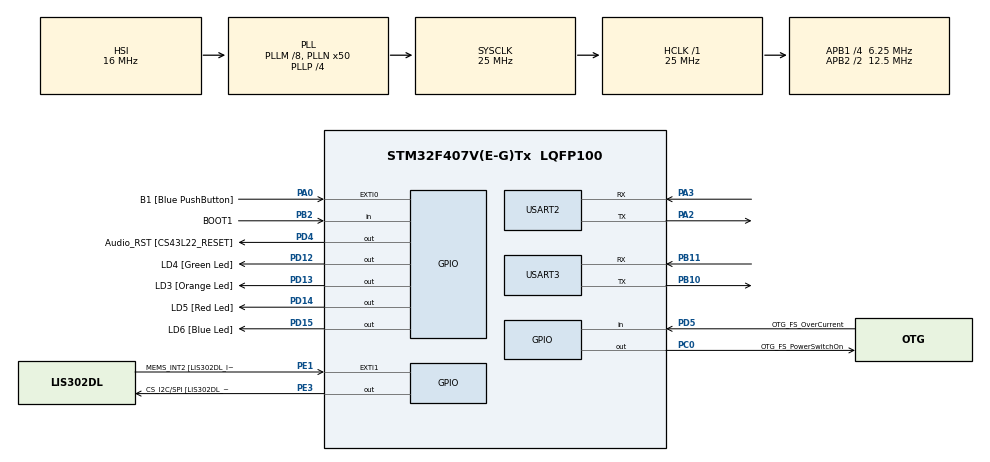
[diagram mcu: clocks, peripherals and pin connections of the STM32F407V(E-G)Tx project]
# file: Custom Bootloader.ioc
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Mcu.Family=STM32F4
Mcu.Name=STM32F407V(E-G)Tx
Mcu.Package=LQFP100
NVIC.PriorityGroup=NVIC_PRIORITYGROUP_0
NVIC.USART3_IRQn=true\:0\:0\:false\:false\:true\:true\:true\:true
PA0-WKUP.GPIO_Label=B1 [Blue PushButton]
PA0-WKUP.Signal=GPXTI0
PA10.GPIO_Label=OTG_FS_ID
PA10.GPIO_Mode=GPIO_MODE_AF_PP
PA10.GPIO_PuPd=GPIO_NOPULL
PA10.GPIO_Speed=GPIO_SPEED_FREQ_LOW
PA10.Signal=USB_OTG_FS_ID
PA11.GPIO_Label=OTG_FS_DM
PA11.GPIO_Mode=GPIO_MODE_AF_PP
PA11.GPIO_PuPd=GPIO_NOPULL
PA11.GPIO_Speed=GPIO_SPEED_FREQ_LOW
PA11.Signal=USB_OTG_FS_DM
PA12.GPIO_Label=OTG_FS_DP
PA12.GPIO_Mode=GPIO_MODE_AF_PP
PA12.GPIO_PuPd=GPIO_NOPULL
PA12.GPIO_Speed=GPIO_SPEED_FREQ_LOW
PA12.Signal=USB_OTG_FS_DP
PA13.GPIO_Label=SWDIO
PA13.Signal=SYS_JTMS-SWDIO
PA14.GPIO_Label=SWCLK
PA14.Signal=SYS_JTCK-SWCLK
PA2.Mode=Asynchronous
PA2.Signal=USART2_TX
PA3.Mode=Asynchronous
PA3.Signal=USART2_RX
PA4.GPIO_Label=I2S3_WS [CS43L22_LRCK]
PA4.GPIO_Mode=GPIO_MODE_AF_PP
PA4.GPIO_PuPd=GPIO_NOPULL
PA4.GPIO_Speed=GPIO_SPEED_FREQ_LOW
PA4.Signal=I2S3_WS
PA5.GPIO_Label=SPI1_SCK [LIS302DL_SCL/SPC]
PA5.GPIO_Mode=GPIO_MODE_AF_PP
PA5.GPIO_PuPd=GPIO_NOPULL
PA5.GPIO_Speed=GPIO_SPEED_FREQ_LOW
PA5.Signal=SPI1_SCK
PA6.GPIO_Label=SPI1_MISO [LIS302DL_SDO]
PA6.GPIO_Mode=GPIO_MODE_AF_PP
PA6.GPIO_PuPd=GPIO_NOPULL
PA6.GPIO_Speed=GPIO_SPEED_FREQ_LOW
PA6.Signal=SPI1_MISO
PA7.GPIO_Label=SPI1_MOSI [LIS302DL_SDA/SDI/SDO]
PA7.GPIO_Mode=GPIO_MODE_AF_PP
PA7.GPIO_PuPd=GPIO_NOPULL
PA7.GPIO_Speed=GPIO_SPEED_FREQ_LOW
PA7.Signal=SPI1_MOSI
PA9.GPIO_Label=VBUS_FS
PA9.GPIO_Mode=GPIO_MODE_INPUT
PA9.GPIO_PuPd=GPIO_NOPULL
PA9.Signal=USB_OTG_FS_VBUS
PB10.Mode=Asynchronous
PB10.Signal=USART3_TX
PB11.Mode=Asynchronous
PB11.Signal=USART3_RX
PB2.GPIO_Label=BOOT1
PB2.GPIO_Mode=GPIO_MODE_INPUT
PB2.GPIO_PuPd=GPIO_NOPULL
PB2.Signal=GPIO_Input
PB3.GPIO_Label=SWO
PB3.Signal=SYS_JTDO-SWO
PB6.GPIO_Label=Audio_SCL [CS43L22_SCL]
PB6.GPIO_Mode=GPIO_MODE_AF_OD
PB6.GPIO_PuPd=GPIO_NOPULL
PB6.GPIO_Speed=GPIO_SPEED_FREQ_LOW
PB6.Signal=I2C1_SCL
PB9.GPIO_Label=Audio_SDA [CS43L22_SDA]
PB9.GPIO_Mode=GPIO_MODE_AF_OD
PB9.GPIO_PuPd=GPIO_NOPULL
PB9.GPIO_Speed=GPIO_SPEED_FREQ_LOW
PB9.Signal=I2C1_SDA
PC0.GPIO_Label=OTG_FS_PowerSwitchOn
PC0.GPIO_PuPd=GPIO_NOPULL
PC0.GPIO_Speed=GPIO_SPEED_FREQ_LOW
PC0.PinState=GPIO_PIN_SET
PC0.Signal=GPIO_Output
PC10.GPIO_Label=I2S3_SCK [CS43L22_SCLK]
PC10.GPIO_Mode=GPIO_MODE_AF_PP
PC10.GPIO_PuPd=GPIO_NOPULL
PC10.GPIO_Speed=GPIO_SPEED_FREQ_LOW
PC10.Signal=I2S3_CK
PC12.GPIO_Label=I2S3_SD [CS43L22_SDIN]
PC12.GPIO_Mode=GPIO_MODE_AF_PP
PC12.GPIO_PuPd=GPIO_NOPULL
PC12.GPIO_Speed=GPIO_SPEED_FREQ_LOW
PC12.Signal=I2S3_SD
PC14-OSC32_IN.GPIO_Label=PC14-OSC32_IN
PC14-OSC32_IN.Signal=RCC_OSC32_IN
PC15-OSC32_OUT.GPIO_Label=PC15-OSC32_OUT
PC15-OSC32_OUT.Signal=RCC_OSC32_OUT
PC3.GPIO_Label=PDM_OUT [MP45DT02_DOUT]
PC3.GPIO_Mode=GPIO_MODE_AF_PP
PC3.GPIO_PuPd=GPIO_NOPULL
PC3.GPIO_Speed=GPIO_SPEED_FREQ_LOW
PC3.Signal=I2S2_SD
PC7.GPIO_Label=I2S3_MCK [CS43L22_MCLK]
PC7.GPIO_Mode=GPIO_MODE_AF_PP
PC7.GPIO_PuPd=GPIO_NOPULL
PC7.GPIO_Speed=GPIO_SPEED_FREQ_LOW
PC7.Signal=I2S3_MCK
PD12.GPIO_Label=LD4 [Green Led]
PD12.GPIO_PuPd=GPIO_NOPULL
PD12.GPIO_Speed=GPIO_SPEED_FREQ_LOW
PD12.Signal=GPIO_Output
PD13.GPIO_Label=LD3 [Orange Led]
PD13.GPIO_PuPd=GPIO_NOPULL
PD13.GPIO_Speed=GPIO_SPEED_FREQ_LOW
PD13.Signal=GPIO_Output
PD14.GPIO_Label=LD5 [Red Led]
PD14.GPIO_PuPd=GPIO_NOPULL
PD14.GPIO_Speed=GPIO_SPEED_FREQ_LOW
PD14.Signal=GPIO_Output
PD15.GPIO_Label=LD6 [Blue Led]
PD15.GPIO_PuPd=GPIO_NOPULL
PD15.GPIO_Speed=GPIO_SPEED_FREQ_LOW
PD15.Signal=GPIO_Output
PD4.GPIO_Label=Audio_RST [CS43L22_RESET]
PD4.GPIO_PuPd=GPIO_NOPULL
PD4.GPIO_Speed=GPIO_SPEED_FREQ_LOW
PD4.Signal=GPIO_Output
PD5.GPIO_Label=OTG_FS_OverCurrent
PD5.GPIO_Mode=GPIO_MODE_INPUT
PD5.GPIO_PuPd=GPIO_NOPULL
PD5.Signal=GPIO_Input
PE1.GPIO_Label=MEMS_INT2 [LIS302DL_INT2]
PE1.GPIO_ModeDefaultEXTI=GPIO_MODE_EVT_RISING
PE1.GPIO_PuPd=GPIO_NOPULL
PE1.Signal=GPXTI1
PE3.GPIO_Label=CS_I2C/SPI [LIS302DL_CS_I2C/SPI]
PE3.GPIO_PuPd=GPIO_NOPULL
PE3.GPIO_Speed=GPIO_SPEED_FREQ_LOW
PE3.Signal=GPIO_Output
PH0-OSC_IN.GPIO_Label=PH0-OSC_IN
PH0-OSC_IN.Signal=RCC_OSC_IN
PH1-OSC_OUT.GPIO_Label=PH1-OSC_OUT
PH1-OSC_OUT.Signal=RCC_OSC_OUT
ProjectManager.HeapSize=0x200
ProjectManager.StackSize=0x400
ProjectManager.TargetToolchain=STM32CubeIDE
RCC.48MHZClocksFreq_Value=14285714.285714285
RCC.AHBFreq_Value=25000000
RCC.APB1CLKDivider=RCC_HCLK_DIV4
RCC.APB1Freq_Value=6250000
RCC.APB1TimFreq_Value=12500000
RCC.APB2CLKDivider=RCC_HCLK_DIV2
RCC.APB2Freq_Value=12500000
RCC.APB2TimFreq_Value=25000000
RCC.CortexFreq_Value=25000000
RCC.HCLKFreq_Value=25000000
RCC.HSE_VALUE=8000000
RCC.HSI_VALUE=16000000
RCC.LSE_VALUE=32768
RCC.PLLM=8
RCC.PLLN=50
RCC.PLLP=RCC_PLLP_DIV4
RCC.PLLQ=7
RCC.SYSCLKFreq_VALUE=25000000
RCC.SYSCLKSource=RCC_SYSCLKSOURCE_PLLCLK
RCC.VCOOutputFreq_Value=100000000
USART2.VirtualMode=VM_ASYNC
USART3.VirtualMode=VM_ASYNC
VP_CRC_VS_CRC.Mode=CRC_Activate
board=STM32F407G-DISC1

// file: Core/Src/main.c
/* USER CODE BEGIN Header */
/**
  ******************************************************************************
  * @file           : main.c
  * @brief          : Main program body
  ******************************************************************************
  * @attention
  *
  * Copyright (c) 2026 STMicroelectronics.
  * All rights reserved.
  *
  * This software is licensed under terms that can be found in the LICENSE file
  * in the root directory of this software component.
  * If no LICENSE file comes with this software, it is provided AS-IS.
  *
  ******************************************************************************
  */
#include <stdio.h>
#include <string.h>
#include <stdarg.h>
/* USER CODE END Header */
#include "main.h"

/* USER CODE BEGIN Includes */
#define PRINTF
#define OB_HAL 1
#define SECTOR2_FLASH_STORAGE 0x08008000UL

/* USER CODE END Includes */

CRC_HandleTypeDef hcrc;

UART_HandleTypeDef huart2;
UART_HandleTypeDef huart3;

/* USER CODE BEGIN PV */
#define D_UART &huart3
#define C_UART &huart2

/* USER CODE END PV */

void SystemClock_Config(void);
static void MX_GPIO_Init(void);
static void MX_CRC_Init(void);
static void MX_USART3_UART_Init(void);
static void MX_USART2_UART_Init(void);
/* USER CODE BEGIN PFP */
static void printmsg(char *formate,...);
static void bootloader_uart_read_data();
static void bootloader_uart_write_data(uint8_t* pSTACK, uint8_t len);
static void bootloader_jump_to_user_app();

void bl_get_version(uint8_t* pSTACK);
void bl_get_help(uint8_t* pSTACK);
void bl_get_CID(uint8_t* pSTACK);
void bl_get_read_protection_level(uint8_t* pSTACK);
void bl_go_to_address(uint8_t* pSTACK);
void bl_erase_flash(uint8_t* pSTACK);
void bl_memory_write(uint8_t* pSTACK);
void bl_memory_read(uint8_t* pSTACK);
void bl_en_read_write_protection(uint8_t* pSTACK);
void bl_get_read_sector_protection_status(uint8_t* pSTACK);
void read_otp_content(uint8_t* pSTACK);
void bl_diable_read_write_protection(uint8_t* pSTACK);

static void bootloader_send_ack(uint8_t cmd_code, uint8_t follow_len);
static void bootloader_send_nack(void);
static uint8_t bootloader_verify_crc(uint8_t* pSTACK, uint8_t len, uint32_t host_crc);
static uint8_t get_booloader_ver();
static uint16_t get_mcu_cid();
static uint8_t get_rdp_level();
static uint8_t validate_addr(uint32_t addr);

static uint8_t execute_erase_task(uint8_t sector_number, uint8_t number_of_sector);
static uint8_t execute_write_task(uint32_t base_mem_addr, uint8_t *pBuffer, uint32_t payload_len);

static uint8_t sector_status(uint8_t sector_view, uint8_t protection_mode, uint8_t disable);

/* USER CODE END PFP */

/* USER CODE BEGIN 0 */
uint8_t BL_FULL_STACK[250];

uint8_t HELP_CODE[] = {
		BL_GET_VER,
		BL_GET_HELP,
		BL_GET_CID,
		BL_GET_RPD_STATUS,
		BL_GO_TO_ADDR,
		BL_FLASH_ERASE,
		BL_MEM_WRITE,
		BL_MEM_READ,
		BL_EN_R_W_PROTECT,
		BL_READ_SECTOR_STATUS,
		BL_OTP_READ,
		BL_DIS_R_RW_PROTECT

};
/* USER CODE END 0 */

int main(void)
{

  /* MCU Configuration--------------------------------------------------------*/

  /* Reset of all peripherals, Initializes the Flash interface and the Systick. */
  HAL_Init();

  /* Configure the system clock */
  SystemClock_Config();

  /* Initialize all configured peripherals */
  MX_GPIO_Init();
  MX_CRC_Init();
  MX_USART3_UART_Init();
  MX_USART2_UART_Init();
  /* USER CODE BEGIN 2 */
if(HAL_GPIO_ReadPin(B1_GPIO_Port, B1_Pin) == GPIO_PIN_SET){

	printmsg("Entered UART read configuration\r\n");

	bootloader_uart_read_data();

}
else{

	printmsg("Entered to user application\r\n");

	bootloader_jump_to_user_app();

}
  /* USER CODE END 2 */

  /* Infinite loop */
  while (1)
  {

  }
}

void SystemClock_Config(void)
{
  RCC_OscInitTypeDef RCC_OscInitStruct = {0};
  RCC_ClkInitTypeDef RCC_ClkInitStruct = {0};

  /** Configure the main internal regulator output voltage
  */
  __HAL_RCC_PWR_CLK_ENABLE();
  __HAL_PWR_VOLTAGESCALING_CONFIG(PWR_REGULATOR_VOLTAGE_SCALE1);

  /** Initializes the RCC Oscillators according to the specified parameters
  * in the RCC_OscInitTypeDef structure.
  */
  RCC_OscInitStruct.OscillatorType = RCC_OSCILLATORTYPE_HSI;
  RCC_OscInitStruct.HSIState = RCC_HSI_ON;
  RCC_OscInitStruct.HSICalibrationValue = RCC_HSICALIBRATION_DEFAULT;
  RCC_OscInitStruct.PLL.PLLState = RCC_PLL_ON;
  RCC_OscInitStruct.PLL.PLLSource = RCC_PLLSOURCE_HSI;
  RCC_OscInitStruct.PLL.PLLM = 8;
  RCC_OscInitStruct.PLL.PLLN = 50;
  RCC_OscInitStruct.PLL.PLLP = RCC_PLLP_DIV4;
  RCC_OscInitStruct.PLL.PLLQ = 7;
  if (HAL_RCC_OscConfig(&RCC_OscInitStruct) != HAL_OK)
  {
    Error_Handler();
  }

  /** Initializes the CPU, AHB and APB buses clocks
  */
  RCC_ClkInitStruct.ClockType = RCC_CLOCKTYPE_HCLK|RCC_CLOCKTYPE_SYSCLK
                              |RCC_CLOCKTYPE_PCLK1|RCC_CLOCKTYPE_PCLK2;
  RCC_ClkInitStruct.SYSCLKSource = RCC_SYSCLKSOURCE_PLLCLK;
  RCC_ClkInitStruct.AHBCLKDivider = RCC_SYSCLK_DIV1;
  RCC_ClkInitStruct.APB1CLKDivider = RCC_HCLK_DIV4;
  RCC_ClkInitStruct.APB2CLKDivider = RCC_HCLK_DIV2;

  if (HAL_RCC_ClockConfig(&RCC_ClkInitStruct, FLASH_LATENCY_0) != HAL_OK)
  {
    Error_Handler();
  }
}

static void MX_CRC_Init(void)
{

  hcrc.Instance = CRC;
  if (HAL_CRC_Init(&hcrc) != HAL_OK)
  {
    Error_Handler();
  }

}

static void MX_USART2_UART_Init(void)
{

  huart2.Instance = USART2;
  huart2.Init.BaudRate = 115200;
  huart2.Init.WordLength = UART_WORDLENGTH_8B;
  huart2.Init.StopBits = UART_STOPBITS_1;
  huart2.Init.Parity = UART_PARITY_NONE;
  huart2.Init.Mode = UART_MODE_TX_RX;
  huart2.Init.HwFlowCtl = UART_HWCONTROL_NONE;
  huart2.Init.OverSampling = UART_OVERSAMPLING_16;
  if (HAL_UART_Init(&huart2) != HAL_OK)
  {
    Error_Handler();
  }

}

static void MX_USART3_UART_Init(void)
{

  huart3.Instance = USART3;
  huart3.Init.BaudRate = 115200;
  huart3.Init.WordLength = UART_WORDLENGTH_8B;
  huart3.Init.StopBits = UART_STOPBITS_1;
  huart3.Init.Parity = UART_PARITY_NONE;
  huart3.Init.Mode = UART_MODE_TX_RX;
  huart3.Init.HwFlowCtl = UART_HWCONTROL_NONE;
  huart3.Init.OverSampling = UART_OVERSAMPLING_16;
  if (HAL_UART_Init(&huart3) != HAL_OK)
  {
    Error_Handler();
  }

}

static void MX_GPIO_Init(void)
{
  GPIO_InitTypeDef GPIO_InitStruct = {0};

  /* GPIO Ports Clock Enable */

  __HAL_RCC_GPIOA_CLK_ENABLE();
  __HAL_RCC_GPIOB_CLK_ENABLE();
  __HAL_RCC_GPIOD_CLK_ENABLE();

  /*Configure GPIO pin : B1_Pin */
  GPIO_InitStruct.Pin = B1_Pin;
  GPIO_InitStruct.Mode = GPIO_MODE_IT_RISING;
  GPIO_InitStruct.Pull = GPIO_NOPULL;
  HAL_GPIO_Init(B1_GPIO_Port, &GPIO_InitStruct);

  /*Configure GPIO pins : LD4_Pin LD3_Pin LD5_Pin LD6_Pin
                           Audio_RST_Pin */
  GPIO_InitStruct.Pin = LD4_Pin|LD3_Pin|LD5_Pin|LD6_Pin;
  GPIO_InitStruct.Mode = GPIO_MODE_OUTPUT_PP;
  GPIO_InitStruct.Pull = GPIO_NOPULL;
  GPIO_InitStruct.Speed = GPIO_SPEED_FREQ_LOW;
  HAL_GPIO_Init(GPIOD, &GPIO_InitStruct);
  /* USER CODE BEGIN MX_GPIO_Init_2 */
  GPIO_InitStruct.Pin = B1_Pin;
  GPIO_InitStruct.Mode = GPIO_MODE_INPUT;
  GPIO_InitStruct.Pull = GPIO_PULLDOWN;
  HAL_GPIO_Init(B1_GPIO_Port, &GPIO_InitStruct);
  /* USER CODE END MX_GPIO_Init_2 */
}

/* USER CODE BEGIN 4 */

static void printmsg(char *formate,...){

#ifdef PRINTF

char str[80];

va_list args;
va_start(args, formate);
vsprintf(str, formate, args);
HAL_UART_Transmit(D_UART, (uint8_t*)str, strlen(str), HAL_MAX_DELAY);
va_end(args);

#endif

}

static void bootloader_uart_read_data(){

uint8_t BL_STACK_LEN = 0;
while(1){

HAL_UART_Receive(C_UART, &BL_FULL_STACK[0], 1, HAL_MAX_DELAY);
BL_STACK_LEN = BL_FULL_STACK[0];

if (BL_STACK_LEN == 0 || BL_STACK_LEN > 249) {
	printmsg("BL ERROR: Invalid packet length %d\r\n", BL_STACK_LEN);
	continue;
}

HAL_UART_Receive(C_UART, &BL_FULL_STACK[1], BL_STACK_LEN, HAL_MAX_DELAY);

switch (BL_FULL_STACK[1]) {
	case BL_GET_VER:

		bl_get_version(BL_FULL_STACK);

		break;
	case BL_GET_HELP:

		bl_get_help(BL_FULL_STACK);

			break;
	case BL_GET_CID:

		bl_get_CID(BL_FULL_STACK);

			break;
	case BL_GET_RPD_STATUS:

		bl_get_read_protection_level(BL_FULL_STACK);

			break;
	case BL_GO_TO_ADDR:

		bl_go_to_address(BL_FULL_STACK);

			break;
	case BL_FLASH_ERASE:

		bl_erase_flash(BL_FULL_STACK);

				break;
	case BL_MEM_WRITE:

		bl_memory_write(BL_FULL_STACK);

				break;
	case BL_MEM_READ:

		bl_memory_read(BL_FULL_STACK);

		break;
	case BL_EN_R_W_PROTECT:

		bl_en_read_write_protection(BL_FULL_STACK);

				break;
	case BL_READ_SECTOR_STATUS:

		bl_get_read_sector_protection_status(BL_FULL_STACK);

				break;
	case BL_OTP_READ:

		read_otp_content(BL_FULL_STACK);

				break;
	case BL_DIS_R_RW_PROTECT:

		bl_diable_read_write_protection(BL_FULL_STACK);

				break;
	default:

		printmsg("INVALID COMMAND CODE\r\n");

		break;
		}

	}

}

static void bootloader_jump_to_user_app(){

	void (*app_reset_handler)(void);

	uint32_t msp_value = *((volatile uint32_t*)(SECTOR2_FLASH_STORAGE));

	printmsg("BL DEBUG MSG:MSP ADDR: %#x\r\n", msp_value);

	uint32_t reset_handler_addr = *((volatile uint32_t*)(SECTOR2_FLASH_STORAGE + 4));

	app_reset_handler = (void*) reset_handler_addr;

	printmsg("BL DEBUG MSG:RST HANDLER ADDR: %#x\r\n", app_reset_handler);

	/* Validate application vector table before jumping */
	if (msp_value == 0xFFFFFFFF || msp_value == 0x00000000) {
		printmsg("BL ERROR: Invalid MSP - no app found at 0x%08lx\r\n", (unsigned long)SECTOR2_FLASH_STORAGE);
		return;
	}

	if (reset_handler_addr == 0xFFFFFFFF || reset_handler_addr == 0x00000000) {
		printmsg("BL ERROR: Invalid reset handler - no app found\r\n");
		return;
	}

	if ((reset_handler_addr & 0xFF000000) != 0x08000000) {
		printmsg("BL ERROR: Reset handler 0x%08lx not in flash range\r\n", (unsigned long)reset_handler_addr);
		return;
	}

	printmsg("BL DEBUG MSG: Jumping to application...\r\n");

	/* Ensure last UART TX completes before deinit */
	HAL_Delay(10);

	/* Disable all interrupts - critical for safe transition */
	__disable_irq();

	/* Stop SysTick - it keeps firing if left running, but app uses TIM6 */
	SysTick->CTRL = 0;
	SysTick->LOAD = 0;
	SysTick->VAL = 0;

	/* Clear all pending interrupts in NVIC */
	for (int i = 0; i < 8; i++) {
		NVIC->ICER[i] = 0xFFFFFFFF;
		NVIC->ICPR[i] = 0xFFFFFFFF;
	}

	/* Deinitialize all HAL peripherals */
	HAL_DeInit();

	/* Reset Clock Configuration to default HSI state manually since HAL_RCC_DeInit is a no-op on STM32F4 */
	RCC->CR |= RCC_CR_HSION;
	while ((RCC->CR & RCC_CR_HSIRDY) == 0);

	RCC->CFGR = 0x00000000;
	while ((RCC->CFGR & RCC_CFGR_SWS) != 0);

	RCC->CR &= ~(RCC_CR_HSEON | RCC_CR_HSEBYP | RCC_CR_CSSON | RCC_CR_PLLON | RCC_CR_PLLI2SON);
	while ((RCC->CR & RCC_CR_PLLRDY) != 0);
	while ((RCC->CR & RCC_CR_PLLI2SRDY) != 0);

	RCC->PLLCFGR = 0x24003010;
	RCC->CIR = 0x00000000;

	/* Reset Flash Latency to 0 wait states (safe at 16MHz) */
	FLASH->ACR &= ~FLASH_ACR_LATENCY;

	/* Set VTOR to application's vector table so any interrupt uses app handlers */
	SCB->VTOR = SECTOR2_FLASH_STORAGE;
	__DSB();  /* Ensure VTOR write completes before any interrupt can fire */
	__ISB();  /* Flush pipeline so new vector table is used immediately */

	/* Update SystemCoreClock to match actual clock (HSI 16MHz after RCC_DeInit) */
	SystemCoreClockUpdate();

	/* Disable EXTI line 0 and clear pending (button B1 configured as IT_RISING) */
	EXTI->IMR &= ~EXTI_IMR_MR0;
	EXTI->PR = EXTI_PR_PR0;

	/* Re-enable global interrupts - all sources are stopped, NVIC is clean */
	__enable_irq();

	/* Set stack pointer to application's initial SP value */
	__set_MSP(msp_value);

	/* Jump to application reset handler - never returns */
	app_reset_handler();

}

void bl_get_version(uint8_t* pSTACK){
	uint8_t bl_version = 0;
	printmsg("BL DEBUG MSG : Getting Boot-Loader version...\r\n");

	uint8_t cmd_packet_len = pSTACK[0] + 1;  // 6
	uint32_t host_crc = *((uint32_t*)(pSTACK + cmd_packet_len - 4)); // 6-4 = 2

	if(bootloader_verify_crc(&pSTACK[0], cmd_packet_len-4, host_crc)){

		 bl_version = get_booloader_ver();
		 bootloader_send_ack(pSTACK[1], 1);
		 printmsg("BL DEBUG: Boot-Loader Version - %d %#x\r\n",bl_version,bl_version);
		 bootloader_uart_write_data(&bl_version, 1);

	}
	else{

		 printmsg("BL DEBUG MSG : Boot-Loader CHECKSUM Failed !\r\n");
		 bootloader_send_nack();

	}

}

void bl_get_help(uint8_t* pSTACK){

	printmsg("BL DEBUG MSG : Getting Help Status...\r\n");

		uint8_t cmd_packet_len = pSTACK[0] + 1;  // 6
		uint32_t host_crc = *((uint32_t*)(pSTACK + cmd_packet_len - 4)); // 6-4 = 2

		if(bootloader_verify_crc(&pSTACK[0], cmd_packet_len-4, host_crc)){

			 bootloader_send_ack(pSTACK[1], sizeof(HELP_CODE));
			 bootloader_uart_write_data(&HELP_CODE[0], sizeof(HELP_CODE));

		}
		else{

			 printmsg("BL DEBUG MSG : Boot-Loader CHECKSUM Failed !\r\n");
			 bootloader_send_nack();

		}

}

void bl_get_CID(uint8_t* pSTACK){
	uint16_t mcu_cid = 0;
	printmsg("BL DEBUG MSG : Getting MCU Chip ID...\r\n");

	uint8_t cmd_packet_len = pSTACK[0] + 1;  // 6
	uint32_t host_crc = *((uint32_t*)(pSTACK + cmd_packet_len - 4)); // 6-4 = 2

	if(bootloader_verify_crc(&pSTACK[0], cmd_packet_len-4, host_crc)){

		 mcu_cid = get_mcu_cid();
		 bootloader_send_ack(pSTACK[1], 2);
		 printmsg("BL DEBUG: MCU Chip ID - %d %#x\r\n",mcu_cid,mcu_cid);
		 bootloader_uart_write_data((uint8_t*)&mcu_cid, 2);

	}
	else{

		 printmsg("BL DEBUG MSG : Boot-Loader CHECKSUM Failed !\r\n");
		 bootloader_send_nack();

	}

}

void bl_get_read_protection_level(uint8_t* pSTACK){

	uint8_t rdp_level = 0;
	printmsg("BL DEBUG MSG : Getting RDP Protection Level Status...\r\n");

	uint8_t cmd_packet_len = pSTACK[0] + 1;  // 6
	uint32_t host_crc = *((uint32_t*)(pSTACK + cmd_packet_len - 4)); // 6-4 = 2

	if(bootloader_verify_crc(&pSTACK[0], cmd_packet_len-4, host_crc)){

		 rdp_level = get_rdp_level();
		 bootloader_send_ack(pSTACK[1], 1);
		 printmsg("BL DEBUG: RDP Level - %d %#x\r\n",rdp_level,rdp_level);
		 bootloader_uart_write_data(&rdp_level, 1);

	}
	else{

		 printmsg("BL DEBUG MSG : Boot-Loader CHECKSUM Failed !\r\n");
		 bootloader_send_nack();

	}

}

void bl_go_to_address(uint8_t* pSTACK){

	uint32_t extract_mem = 0;
    uint8_t valid_addr = VALID_ADDR;
    uint8_t invalid_addr = INVALID_ADDR;

	printmsg("BL DEBUG MSG : Going to the said memory address...\r\n");
	uint8_t cmd_packet_len = pSTACK[0] + 1;  // 6
	uint32_t host_crc = *((uint32_t*)(pSTACK + cmd_packet_len - 4)); // 6-4 = 2

	if(bootloader_verify_crc(&pSTACK[0], cmd_packet_len-4, host_crc)){

		 bootloader_send_ack(pSTACK[1], 1);
		 extract_mem = *((uint32_t*)&pSTACK[2]);

		if(validate_addr(extract_mem) == VALID_ADDR){

			 printmsg("BL DEBUG:GO ADDR IS VALID - %#x\r\n",extract_mem);
			 bootloader_uart_write_data(&valid_addr, 1);

			 /* If jumping to application region, read MSP from vector table */
			 uint32_t msp_value = 0;
			 if (extract_mem >= SECTOR2_FLASH_STORAGE && extract_mem < FLASH_EN) {
				 msp_value = *((volatile uint32_t*)(SECTOR2_FLASH_STORAGE));
				 printmsg("BL DEBUG: Will set MSP to 0x%08lx before jump\r\n", (unsigned long)msp_value);
			 }

			 /* Check if Thumb bit (LSB) is already set, if not add +1 for Thumb mode */
			 if ((extract_mem & 0x1) == 0) {
				 extract_mem += 1;  /* Even address - add Thumb bit */
				 printmsg("BL DEBUG: Added Thumb bit, jumping to 0x%08lx\r\n", (unsigned long)extract_mem);
			 } else {
				 printmsg("BL DEBUG: Thumb bit already set, jumping to 0x%08lx\r\n", (unsigned long)extract_mem);
			 }

			 void (*jump_addr) (void) = (void*)extract_mem;

			 /* Ensure last UART TX completes before deinit */
			 HAL_Delay(10);

			 /* Disable all interrupts - critical for safe transition */
			 __disable_irq();

			 /* Stop SysTick - it keeps firing if left running */
			 SysTick->CTRL = 0;
			 SysTick->LOAD = 0;
			 SysTick->VAL = 0;

			 /* Clear all pending interrupts in NVIC */
			 for (int i = 0; i < 8; i++) {
				 NVIC->ICER[i] = 0xFFFFFFFF;
				 NVIC->ICPR[i] = 0xFFFFFFFF;
			 }

			 /* Deinitialize all HAL peripherals */
			 HAL_DeInit();

			 /* Reset Clock Configuration to default HSI state manually since HAL_RCC_DeInit is a no-op on STM32F4 */
			 RCC->CR |= RCC_CR_HSION;
			 while ((RCC->CR & RCC_CR_HSIRDY) == 0);

			 RCC->CFGR = 0x00000000;
			 while ((RCC->CFGR & RCC_CFGR_SWS) != 0);

			 RCC->CR &= ~(RCC_CR_HSEON | RCC_CR_HSEBYP | RCC_CR_CSSON | RCC_CR_PLLON | RCC_CR_PLLI2SON);
			 while ((RCC->CR & RCC_CR_PLLRDY) != 0);
			 while ((RCC->CR & RCC_CR_PLLI2SRDY) != 0);

			 RCC->PLLCFGR = 0x24003010;
			 RCC->CIR = 0x00000000;

			 /* Reset Flash Latency to 0 wait states (safe at 16MHz) */
			 FLASH->ACR &= ~FLASH_ACR_LATENCY;

			 /* If jumping to application flash region, set VTOR to application base */
			 if ((extract_mem-1) >= SECTOR2_FLASH_STORAGE && (extract_mem-1) < FLASH_EN) {
				 SCB->VTOR = SECTOR2_FLASH_STORAGE;  /* Always point to app vector table base */
				 __DSB();
				 __ISB();
			 }

			 /* Update SystemCoreClock to match actual clock (HSI 16MHz after RCC reset) */
			 SystemCoreClockUpdate();

			 /* Disable EXTI line 0 and clear pending (button B1 configured as IT_RISING) */
			 EXTI->IMR &= ~EXTI_IMR_MR0;
			 EXTI->PR = EXTI_PR_PR0;

			 /* Re-enable global interrupts - all sources are stopped, NVIC is clean */
			 __enable_irq();

			 /* Set MSP from vector table if we read it earlier */
			 if (msp_value != 0) {
				 __set_MSP(msp_value);
			 }

			 /* Jump to address - never returns */
			 jump_addr();
		}
		else {

			 bootloader_send_ack(pSTACK[1], 1);
			 printmsg("BL DEBUG:GO ADDR IS INVALID WHICH IS - %#x\r\n",extract_mem);
			 bootloader_uart_write_data(&invalid_addr, 1);
		}

	}
	else{

		 printmsg("BL DEBUG MSG : Boot-Loader CHECKSUM Failed !\r\n");
		 bootloader_send_nack();

	}

}

void bl_erase_flash(uint8_t* pSTACK){

	uint8_t erase_status = 0x00;
	printmsg("BL DEBUG MSG : Triggered Erasing...\r\n");

	uint8_t cmd_packet_len = pSTACK[0] + 1;  // 6
	uint32_t host_crc = *((uint32_t*)(pSTACK + cmd_packet_len - 4)); // 6-4 = 2

	if(bootloader_verify_crc(&pSTACK[0], cmd_packet_len-4, host_crc)){

		 HAL_GPIO_WritePin(GPIOD, LD4_Pin, GPIO_PIN_SET);
		 erase_status = execute_erase_task(pSTACK[2], pSTACK[3]);
		 HAL_GPIO_WritePin(GPIOD, LD4_Pin, GPIO_PIN_RESET);

		 bootloader_send_ack(pSTACK[1], 1);
		 printmsg("BL DEBUG: ERASE STATUS - %#x\r\n",erase_status);
		 bootloader_uart_write_data(&erase_status, 1);

	}
	else{

		 printmsg("BL DEBUG MSG : Boot-Loader CHECKSUM Failed !\r\n");
		 bootloader_send_nack();

	}

}

void bl_memory_write(uint8_t* pSTACK){

	uint8_t write_status = 0x00;
    uint8_t invalid_addr = INVALID_ADDR;
    uint8_t payload_len = pSTACK[6];
    uint32_t base_mem_addr = 0;

    base_mem_addr = *( (uint32_t*)&pSTACK[2] );

		printmsg("BL DEBUG MSG : Triggered Flashing...\r\n");

		uint8_t cmd_packet_len = pSTACK[0] + 1;  // 6
		uint32_t host_crc = *((uint32_t*)(pSTACK + cmd_packet_len - 4)); // 6-4 = 2

		if(bootloader_verify_crc(&pSTACK[0], cmd_packet_len-4, host_crc)){

			if(validate_addr(base_mem_addr) == VALID_ADDR){

			 HAL_GPIO_WritePin(GPIOD, LD4_Pin, GPIO_PIN_SET);
			 write_status = execute_write_task(base_mem_addr, &pSTACK[7], payload_len);
			 HAL_GPIO_WritePin(GPIOD, LD4_Pin, GPIO_PIN_RESET);

			 bootloader_send_ack(pSTACK[1], 1);
			 printmsg("BL DEBUG: WRITE STATUS - %#x\r\n",write_status);
			 bootloader_uart_write_data(&write_status, 1);

			}
			else {

				 bootloader_send_ack(pSTACK[1], 1);
				 printmsg("BL DEBUG:GO ADDR IS INVALID WHICH IS- %#x\r\n",base_mem_addr);
				 bootloader_uart_write_data(&invalid_addr, 1);
			}

		}
		else{

			 printmsg("BL DEBUG MSG : Boot-Loader CHECKSUM Failed !\r\n");
			 bootloader_send_nack();

		}

}

void bl_memory_read(uint8_t* pSTACK){

	uint32_t read_mem_addr = 0;
	uint8_t read_len = 0;
	uint8_t invalid_addr = INVALID_ADDR;

	printmsg("BL DEBUG MSG : Memory read requested...\r\n");

	uint8_t cmd_packet_len = pSTACK[0] + 1;
	uint32_t host_crc = *((uint32_t*)(pSTACK + cmd_packet_len - 4));

	if(bootloader_verify_crc(&pSTACK[0], cmd_packet_len - 4, host_crc)){

		read_mem_addr = *((uint32_t*)&pSTACK[2]);
		read_len = pSTACK[6];

		if(validate_addr(read_mem_addr) == VALID_ADDR){
			printmsg("BL DEBUG: Read addr valid - %#x, len=%d\r\n", read_mem_addr, read_len);

			if(read_len == 0 || read_len > 128){
				printmsg("BL DEBUG: Invalid read length %d\r\n", read_len);
				bootloader_send_ack(pSTACK[1], 1);
				uint8_t err_len = 0xFF;
				bootloader_uart_write_data(&err_len, 1);
				return;
			}

			bootloader_send_ack(pSTACK[1], read_len);
			bootloader_uart_write_data((uint8_t*)read_mem_addr, read_len);
			printmsg("BL DEBUG: Memory read done\r\n");
		}
		else{
			printmsg("BL DEBUG: Read addr INVALID - %#x\r\n", read_mem_addr);
			bootloader_send_ack(pSTACK[1], 1);
			bootloader_uart_write_data(&invalid_addr, 1);
		}
	}
	else{
		printmsg("BL DEBUG MSG : Boot-Loader CHECKSUM Failed !\r\n");
		bootloader_send_nack();
	}
}

void bl_en_read_write_protection(uint8_t* pSTACK){

	uint8_t status = 0x00;
	printmsg("BL DEBUG MSG : Enabling R/W Protection...\r\n");

	uint8_t cmd_packet_len = pSTACK[0] + 1;  // 6
	uint32_t host_crc = *((uint32_t*)(pSTACK + cmd_packet_len - 4)); // 6-4 = 2

	if(bootloader_verify_crc(&pSTACK[0], cmd_packet_len-4, host_crc)){

		  // Validate protection mode (1=WRP, 2=PCROP)
		    if(pSTACK[3] != 1 && pSTACK[3] != 2){
		        printmsg("BL ERROR: Invalid protection mode %d\r\n", pSTACK[3]);
		        bootloader_send_nack();
		        return;
		    }

		    // Prevent protecting bootloader sectors 0-1
		    if(pSTACK[2] & 0x03){
		        printmsg("BL ERROR: Cannot protect bootloader sectors\r\n");
		        bootloader_send_nack();
		        return;
		    }
		 status = sector_status(pSTACK[2], pSTACK[3], 0);

		 bootloader_send_ack(pSTACK[1], 1);
		 printmsg("BL DEBUG: SECTOR STATUS - %#x\r\n",status);
		 bootloader_uart_write_data(&status, 1);

	}
	else{

		 printmsg("BL DEBUG MSG : Boot-Loader CHECKSUM Failed !\r\n");
		 bootloader_send_nack();

	}

}

void bl_diable_read_write_protection(uint8_t* pSTACK){

	uint8_t status = 0x00;
		printmsg("BL DEBUG MSG : Disabling R/W Protection...\r\n");

		uint8_t cmd_packet_len = pSTACK[0] + 1;  // 6
		uint32_t host_crc = *((uint32_t*)(pSTACK + cmd_packet_len - 4)); // 6-4 = 2

		if(bootloader_verify_crc(&pSTACK[0], cmd_packet_len-4, host_crc)){

			 // Prevent protecting bootloader sectors 0-1
		  if(pSTACK[2] & 0x03){
			  printmsg("BL ERROR: Cannot protect bootloader sectors\r\n");
			  bootloader_send_nack();
			  return;
			 }
			 status = sector_status(pSTACK[2], 0, 1);

			 bootloader_send_ack(pSTACK[1], 1);
			 printmsg("BL DEBUG: SECTOR STATUS - %#x\r\n",status);
			 bootloader_uart_write_data(&status, 1);

		}
		else{

			 printmsg("BL DEBUG MSG : Boot-Loader CHECKSUM Failed !\r\n");
			 bootloader_send_nack();

		}

}

void bl_get_read_sector_protection_status(uint8_t* pSTACK){ //

	uint16_t protection_status = 0;
	printmsg("BL DEBUG MSG :  Reading Sector Protection Status...\r\n");

	uint8_t cmd_packet_len = pSTACK[0] + 1;  // 6
	uint32_t host_crc = *((uint32_t*)(pSTACK + cmd_packet_len - 4)); // 6-4 = 2

	if(bootloader_verify_crc(&pSTACK[0], cmd_packet_len-4, host_crc)){

        volatile uint32_t *pOPTCR = (uint32_t*) 0x40023C14 ;
        protection_status = (*pOPTCR >> 16) & 0xFFF;

		 bootloader_send_ack(pSTACK[1], 2);
		 printmsg("BL DEBUG: Protection Status - 0x%04X\r\n",protection_status);
		 uint8_t status_byte[2] = { 0 };
		 status_byte[0] = (uint8_t)(protection_status & 0xFFU);
		 status_byte[1] = (uint8_t)((protection_status >> 8) & 0x0FU);
		 bootloader_uart_write_data(&status_byte[0], 2);

	}
	else{

		 printmsg("BL DEBUG MSG : Boot-Loader CHECKSUM Failed !\r\n");
		 bootloader_send_nack();

	}

}

void read_otp_content(uint8_t* pSTACK){

	uint32_t read_otp_addr = 0;
		uint8_t read_len = 0;
		uint8_t invalid_addr = INVALID_ADDR;

		printmsg("BL DEBUG MSG : OTP read requested...\r\n");

		uint8_t cmd_packet_len = pSTACK[0] + 1;
		uint32_t host_crc = *((uint32_t*)(pSTACK + cmd_packet_len - 4));

		if(bootloader_verify_crc(&pSTACK[0], cmd_packet_len - 4, host_crc)){

			read_otp_addr = *((uint32_t*)&pSTACK[2]);
			read_len = pSTACK[6];

			if(validate_addr(read_otp_addr) == VALID_ADDR){
				printmsg("BL DEBUG: otp addr is valid - %#x, len=%d\r\n", read_otp_addr, read_len);

				if(read_len == 0 || read_len > 128){
					printmsg("BL DEBUG: Invalid otp read length %d\r\n", read_len);
					bootloader_send_ack(pSTACK[1], 1);
					uint8_t err_len = 0xFF;
					bootloader_uart_write_data(&err_len, 1);
					return;
				}

				bootloader_send_ack(pSTACK[1], read_len);
				bootloader_uart_write_data((uint8_t*)read_otp_addr, read_len);
				printmsg("BL DEBUG: Memory read done\r\n");
			}
			else{
				printmsg("BL DEBUG: Read otp addr is INVALID - %#x\r\n", read_otp_addr);
				bootloader_send_ack(pSTACK[1], 1);
				bootloader_uart_write_data(&invalid_addr, 1);
			}
		}
		else{
			printmsg("BL DEBUG MSG : Boot-Loader CHECKSUM Failed !\r\n");
			bootloader_send_nack();
		}
	}

static void bootloader_send_ack(uint8_t cmd_code, uint8_t follow_len){

uint8_t ack_buf[2];
ack_buf[0] = BL_ACK;
ack_buf[1] = follow_len;
HAL_UART_Transmit(C_UART, ack_buf, 2, HAL_MAX_DELAY);

}

static void bootloader_send_nack(void){

uint8_t nack = BL_NACK;
HAL_UART_Transmit(C_UART, &nack, 1, HAL_MAX_DELAY);

}

static uint8_t bootloader_verify_crc(uint8_t* pSTACK, uint8_t len, uint32_t host_crc){

   __HAL_CRC_DR_RESET(&hcrc);
   uint32_t mcu_crc = 0;

   for(int i = 0; i < len; i++){

	   uint32_t i_data =  pSTACK[i];
	   mcu_crc = HAL_CRC_Accumulate(&hcrc, &i_data, 1);

   }
   if(host_crc == mcu_crc){
	   return CRC_SUCCESS;
   }
	   return CRC_FAIL;

}

static void bootloader_uart_write_data(uint8_t* pBuffer, uint8_t len){

	HAL_UART_Transmit(C_UART, pBuffer, len, HAL_MAX_DELAY);

}

static uint8_t get_booloader_ver(){

return (uint8_t)BL_VER;
}

static uint16_t get_mcu_cid(){

	uint16_t cid = 0;
	cid = (uint16_t)(DBGMCU->IDCODE & 0x0FFFU);
	return cid;
}

static uint8_t get_rdp_level(){
	uint8_t rdp_level = 0;

#if OB_HAL

FLASH_OBProgramInitTypeDef OB_handel = {0};
HAL_FLASHEx_OBGetConfig(&OB_handel);
rdp_level = (uint8_t) OB_handel.RDPLevel;

#else

	uint32_t pRDP = (*((volatile uint32_t*)0x1FFFC000U) >> 8);
//	volatile uint32_t *pRDP = (uint32_t*)0x1FFFC000U;
//	rdp_level = (uint8_t)(*pRDP >> 8);
	rdp_level = (uint8_t) pRDP;

#endif

	return rdp_level;
}

static uint8_t validate_addr(uint32_t addr){

	if(addr >= SRAM1_BASE && addr <= SRAM1_END){

		return VALID_ADDR;

	}
	else if (addr >= SRAM2_BASE && addr <= SRAM2_END) {

		return VALID_ADDR;

	}
	else if (addr >= FLASH_BASE && addr <= FLASH_EN) {

		return VALID_ADDR;

	}
	else if (addr >= BKPSRAM_BASE && addr <= BKPSRAM_END) {

		return VALID_ADDR;

	}
	else if (addr >= FLASH_OTP_BASE && addr <= OTP_END) {

		return VALID_ADDR;

	}
	else{

		return INVALID_ADDR;

	}

}

static uint8_t execute_erase_task(uint8_t sector_number, uint8_t number_of_sector){

uint32_t SectorError;
FLASH_EraseInitTypeDef herase;
HAL_StatusTypeDef rStatus;

  	  if(number_of_sector > 12)
  		  return INVALID_SECTOR;

	if(sector_number == 0xFFU || sector_number <= 11){

		if(sector_number == 0xFFU){

			herase.TypeErase = FLASH_TYPEERASE_MASSERASE;

		}
		else{
			uint8_t remaining_sector = 12 - sector_number;
			if(number_of_sector > remaining_sector){

				number_of_sector = remaining_sector;

			}
			herase.TypeErase = FLASH_TYPEERASE_SECTORS;
			herase.Sector = sector_number;
			herase.NbSectors = number_of_sector;

		}
		herase.Banks = FLASH_BANK_1;
        herase.VoltageRange = FLASH_VOLTAGE_RANGE_3;

        HAL_FLASH_Unlock();
		rStatus = (HAL_StatusTypeDef)HAL_FLASHEx_Erase(&herase, &SectorError);
		HAL_FLASH_Lock();

		return rStatus;

		}

return INVALID_SECTOR;
}

static uint8_t execute_write_task(uint32_t base_mem_addr, uint8_t *pBuffer, uint32_t payload_len){

	HAL_StatusTypeDef status = HAL_OK;

    HAL_FLASH_Unlock();

	for(uint32_t i = 0; i < payload_len; i++){

	    status = HAL_FLASH_Program(FLASH_TYPEPROGRAM_BYTE, base_mem_addr + i, pBuffer[i]);

	}
	HAL_FLASH_Lock();

	return status;

}

static uint8_t sector_status(uint8_t sector_view, uint8_t protection_mode, uint8_t disable){

	volatile uint32_t *pOPTCR = (uint32_t*) 0x40023C14;

	if(protection_mode == (uint8_t) 1){
    HAL_FLASH_OB_Unlock();

    while(__HAL_FLASH_GET_FLAG(FLASH_FLAG_BSY) != RESET);
    *pOPTCR &= ~(1 << 31);

    *pOPTCR &= ~(sector_view << 16);

    *pOPTCR |= (1 << 1);
    while(__HAL_FLASH_GET_FLAG(FLASH_FLAG_BSY) != RESET)
    	;

	HAL_FLASH_OB_Lock();

	return 1;
	}

	if(protection_mode == (uint8_t) 2){
    HAL_FLASH_OB_Unlock();

    while(__HAL_FLASH_GET_FLAG(FLASH_FLAG_BSY) != RESET);
    *pOPTCR |= (1 << 31);

    *pOPTCR &= ~(0xFFU << 16);
    *pOPTCR |= (sector_view << 16);

    *pOPTCR |= (1 << 1);
    while(__HAL_FLASH_GET_FLAG(FLASH_FLAG_BSY) != RESET);

    HAL_FLASH_OB_Lock();

    return 2;

	}

	if(disable){

	    HAL_FLASH_OB_Unlock();

	    while(__HAL_FLASH_GET_FLAG(FLASH_FLAG_BSY) != RESET);
	    *pOPTCR |= (1 << 31);

	    *pOPTCR |= (0xFFU << 16);

	    *pOPTCR |= (1 << 1);
	    while(__HAL_FLASH_GET_FLAG(FLASH_FLAG_BSY) != RESET)
	    	;

		HAL_FLASH_OB_Lock();

	}

    return 0;
}

/* USER CODE END 4 */

void Error_Handler(void)
{
  __disable_irq();
  while (1)
  {
  }
}
